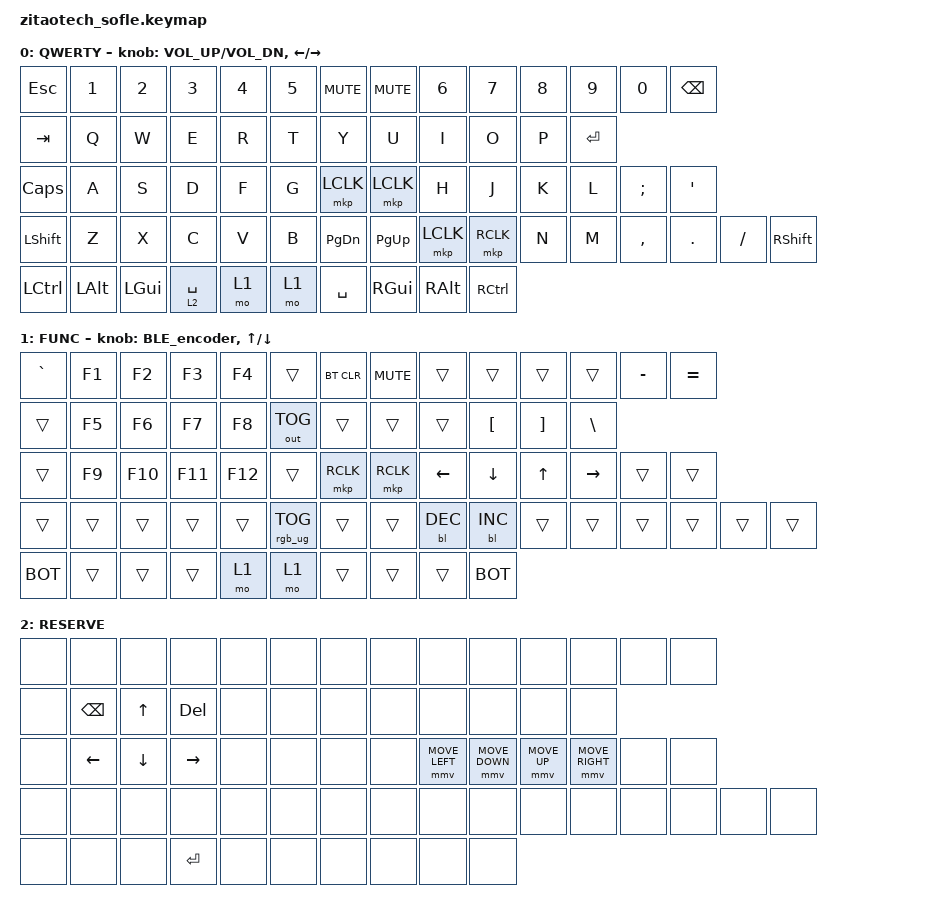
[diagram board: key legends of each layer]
/*
 * Copyright (c) 2025 ZitaoTech
 *
 * SPDX-License-Identifier: MIT
 */

#include <dt-bindings/zmk/mouse.h>
#include <behaviors.dtsi>
#include <dt-bindings/zmk/backlight.h>
#include <dt-bindings/zmk/bt.h>
#include <dt-bindings/zmk/keys.h>
#include <dt-bindings/zmk/outputs.h>
#include <dt-bindings/zmk/pointing.h>
#include <dt-bindings/zmk/rgb.h>

#define FUNC 1
#define RES 2
#define BOT bootloader

/ {
    behaviors {
        td0: tap_dance_0 {
            compatible = "zmk,behavior-tap-dance";
            #binding-cells = <0>;
            tapping-term-ms = <400>;
            bindings = <&mkp LCLK>, <&bt BT_CLR>;
        };
    };

    behaviors {
        hm: homerow_mods {
            compatible = "zmk,behavior-hold-tap";
            #binding-cells = <2>;
            tapping-term-ms = <500>;
            bindings = <&kp &kp>;
        };
    };

    behaviors {
        sp_sc: behavior_spacescroll {
            compatible = "zmk,behavior-hold-tap";
            #binding-cells = <2>;
            flavor = "tap-preferred";     /* 单击优先 */
            tapping-term-ms = <200>;       /* 长按阈值 */
            bindings = <&none &kp>;        /* hold=none, tap=space */
        };
    };

    behaviors {
        BLE_encoder: BLE_encoder {
            compatible = "zmk,behavior-sensor-rotate";
            #sensor-binding-cells = <0>;
            bindings = <&bt BT_NXT>, <&bt BT_PRV>;
        };
    };

    keymap {
        compatible = "zmk,keymap";

        default_layer {
            display-name = "QWERTY";
            bindings = <
&kp ESC    &kp N1    &kp N2    &kp N3       &kp N4  &kp N5  &kp C_MUTE  &kp C_MUTE  &kp N6     &kp N7     &kp N8  &kp N9      &kp N0     &kp BACKSPACE
&kp TAB    &kp Q     &kp W     &kp E        &kp R   &kp T   &kp Y       &kp U       &kp I      &kp O      &kp P   &kp RETURN
&kp CAPS   &kp A     &kp S     &kp D        &kp F   &kp G   &mkp LCLK   &mkp LCLK   &kp H      &kp J      &kp K   &kp L       &kp SEMI   &kp SINGLE_QUOTE
&kp LSHFT  &kp Z     &kp X     &kp C        &kp V   &kp B   &kp PG_DN   &kp PG_UP   &mkp LCLK  &mkp RCLK  &kp N   &kp M       &kp COMMA  &kp DOT           &kp FSLH  &kp RIGHT_SHIFT
&kp LCTRL  &kp LALT  &kp LGUI  &lt 2 SPACE  &mo 1   &mo 1   &kp SPACE   &kp RGUI    &kp RALT   &kp RCTRL
            >;

            sensor-bindings = <&inc_dec_kp C_VOL_UP C_VOL_DN &inc_dec_kp LEFT RIGHT>;
        };

        func_layer {
            display-name = "FUNC";
            bindings = <
&kp GRAVE  &kp F1  &kp F2   &kp F3   &kp F4   &trans           &bt BT_CLR  &kp C_MUTE  &trans      &trans      &trans        &trans         &kp MINUS  &kp EQUAL
&trans     &kp F5  &kp F6   &kp F7   &kp F8   &out OUT_TOG     &trans      &trans      &trans      &kp LBKT    &kp RBKT      &kp BACKSLASH
&trans     &kp F9  &kp F10  &kp F11  &kp F12  &trans           &mkp RCLK   &mkp RCLK   &kp LEFT    &kp DOWN    &kp UP_ARROW  &kp RIGHT      &trans     &trans
&trans     &trans  &trans   &trans   &trans   &rgb_ug RGB_TOG  &trans      &trans      &bl BL_DEC  &bl BL_INC  &trans        &trans         &trans     &trans     &trans  &trans
&BOT       &trans  &trans   &trans   &mo 1    &mo 1            &trans      &trans      &trans      &BOT
            >;

            sensor-bindings = <&BLE_encoder &inc_dec_kp UP DOWN>;
        };

        RES_layer {
            display-name = "RESERVE";
            bindings = <
&none  &none          &none         &none      &none  &none  &none  &none  &none           &none           &none         &none            &none  &none
&none  &kp BACKSPACE  &kp UP_ARROW  &kp DEL    &none  &none  &none  &none  &none           &none           &none         &none
&none  &kp LEFT       &kp DOWN      &kp RIGHT  &none  &none  &none  &none  &mmv MOVE_LEFT  &mmv MOVE_DOWN  &mmv MOVE_UP  &mmv MOVE_RIGHT  &none  &none
&none  &none          &none         &none      &none  &none  &none  &none  &none           &none           &none         &none            &none  &none  &none  &none
&none  &none          &none         &kp RET    &none  &none  &none  &none  &none           &none
            >;
        };
    };
};
